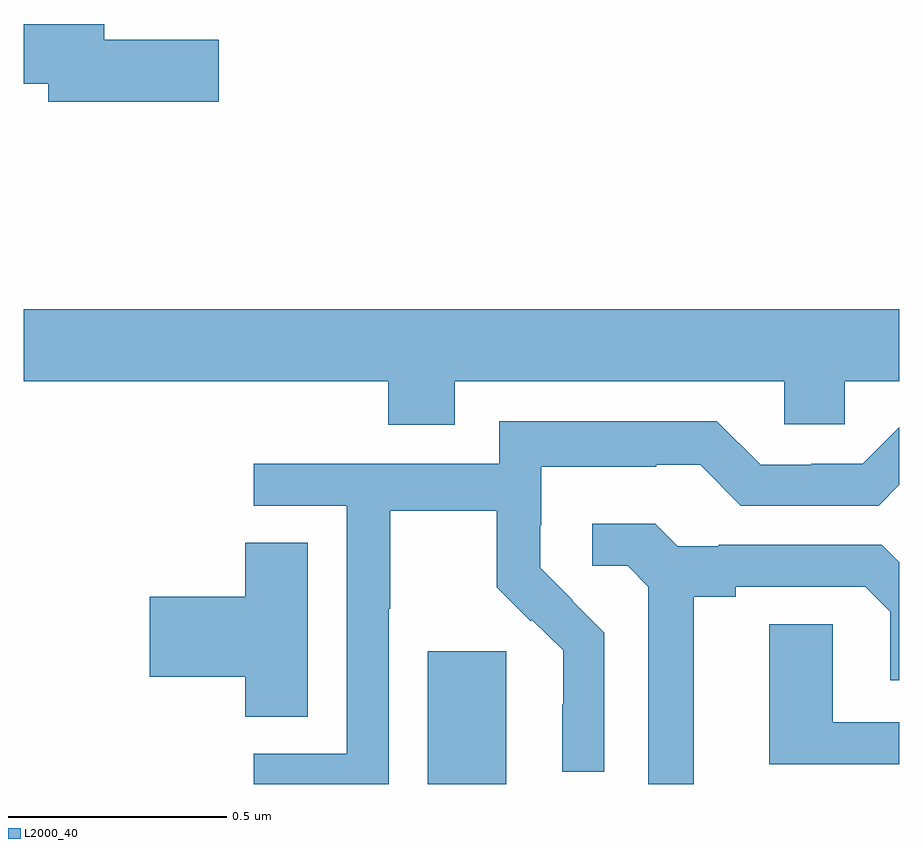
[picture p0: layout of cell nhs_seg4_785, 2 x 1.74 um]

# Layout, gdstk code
import gdstk
lib = gdstk.Library(unit=1e-6, precision=1e-09)
def R(c, l, rs):  # rectangles x0, y0, x1, y1
    for r in rs: c.add(gdstk.rectangle(r[:2], r[2:], *l))
def P(c, l, *ps):  # polygons
    for p in ps: c.add(gdstk.Polygon(p, *l))
L2000_40 = (2000, 40)

nhs_seg4_785 = lib.new_cell('nhs_seg4_785')
R(nhs_seg4_785, L2000_40, [(120.923,795.9,121.102,796.203)])
P(nhs_seg4_785, L2000_40, [(120.445,797.6),(120.184,797.6),(120.184,797.636),(120,797.636),(120,797.5),(120.056,797.5),(120.056,797.458),(120.445,797.458)],
  [(120.985,796.82),(121.737,796.82),(121.737,796.722),(121.875,796.722),(121.875,796.82),(122,796.82),(122,796.984),(120,796.984),(120,796.82),(120.833,796.82),(120.833,796.721),(120.985,796.721)],
  [(120.834,796.3),(120.837,796.3),(120.837,796.524),(121.081,796.524),(121.081,796.349),(121.158,796.272),(121.161,796.275),(121.232,796.205),(121.232,796.082),(121.23,796.082),(121.23,795.928),(121.326,795.928),(121.326,796.246),(121.253,796.319),(121.254,796.32),(121.18,796.394),(121.18,796.491),(121.182,796.491),(121.182,796.625),(121.445,796.625),(121.445,796.629),(121.545,796.629),(121.638,796.536),(121.953,796.536),(122,796.583),(122,796.715),(121.917,796.632),(121.799,796.632),(121.799,796.629),(121.683,796.629),(121.583,796.729),(121.086,796.729),(121.086,796.632),(120.525,796.632),(120.525,796.536),(120.738,796.536),(120.738,795.969),(120.525,795.969),(120.525,795.9),(120.834,795.9)],
  [(121.531,796.328),(121.627,796.328),(121.627,796.35),(121.922,796.35),(121.979,796.293),(121.979,796.137),(122,796.137),(122,796.406),(121.96,796.446),(121.588,796.446),(121.588,796.443),(121.494,796.443),(121.442,796.495),(121.299,796.495),(121.299,796.398),(121.38,796.398),(121.427,796.351),(121.427,795.9),(121.531,795.9)],
  [(120.649,796.451),(120.506,796.451),(120.506,796.328),(120.288,796.328),(120.288,796.145),(120.506,796.145),(120.506,796.054),(120.649,796.054)],
  [(122,796.041),(121.848,796.041),(121.848,796.265),(121.703,796.265),(121.703,795.945),(122,795.945)])

lib.write_gds('nhs_seg4_785.gds')
